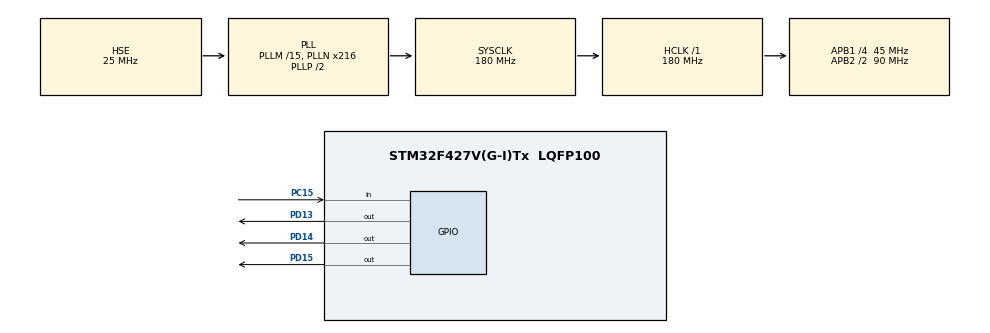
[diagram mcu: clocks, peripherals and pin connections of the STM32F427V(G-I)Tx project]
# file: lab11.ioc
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Mcu.Family=STM32F4
Mcu.Name=STM32F427V(G-I)Tx
Mcu.Package=LQFP100
NVIC.PriorityGroup=NVIC_PRIORITYGROUP_4
PA13.Mode=JTAG_5_pins
PA13.Signal=SYS_JTMS-SWDIO
PA14.Mode=JTAG_5_pins
PA14.Signal=SYS_JTCK-SWCLK
PA15.Mode=JTAG_5_pins
PA15.Signal=SYS_JTDI
PB3.Mode=JTAG_5_pins
PB3.Signal=SYS_JTDO-SWO
PB4.Mode=JTAG_5_pins
PB4.Signal=SYS_JTRST
PC15/OSC32_OUT.Signal=GPIO_Input
PD13.Signal=GPIO_Output
PD14.Signal=GPIO_Output
PD15.Signal=GPIO_Output
PH0/OSC_IN.Mode=HSE-External-Oscillator
PH0/OSC_IN.Signal=RCC_OSC_IN
PH1/OSC_OUT.Mode=HSE-External-Oscillator
PH1/OSC_OUT.Signal=RCC_OSC_OUT
ProjectManager.HeapSize=0x200
ProjectManager.StackSize=0x400
ProjectManager.TargetToolchain=STM32CubeIDE
RCC.48MHZClocksFreq_Value=90000000
RCC.AHBFreq_Value=180000000
RCC.APB1CLKDivider=RCC_HCLK_DIV4
RCC.APB1Freq_Value=45000000
RCC.APB1TimFreq_Value=90000000
RCC.APB2CLKDivider=RCC_HCLK_DIV2
RCC.APB2Freq_Value=90000000
RCC.APB2TimFreq_Value=180000000
RCC.CortexFreq_Value=180000000
RCC.HCLKFreq_Value=180000000
RCC.HSE_VALUE=25000000
RCC.HSI_VALUE=16000000
RCC.LSE_VALUE=32768
RCC.PLLM=15
RCC.PLLN=216
RCC.PLLSourceVirtual=RCC_PLLSOURCE_HSE
RCC.SYSCLKFreq_VALUE=180000000
RCC.SYSCLKSource=RCC_SYSCLKSOURCE_PLLCLK
RCC.VCOOutputFreq_Value=360000000
board=custom

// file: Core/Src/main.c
/* USER CODE BEGIN Header */
/**
  ******************************************************************************
  * @file           : main.c
  * @brief          : Main program body
  ******************************************************************************
  * @attention
  *
  * Copyright (c) 2023 STMicroelectronics.
  * All rights reserved.
  *
  * This software is licensed under terms that can be found in the LICENSE file
  * in the root directory of this software component.
  * If no LICENSE file comes with this software, it is provided AS-IS.
  *
  ******************************************************************************
  */
/* USER CODE END Header */
#include "main.h"
#include "gpio.h"

/* USER CODE BEGIN Includes */
#include "stdio.h"
#include <stdlib.h>
/* USER CODE END Includes */

void SystemClock_Config(void);

/* USER CODE BEGIN 0 */
extern void initialise_monitor_handles(void);

void delay(const int delay_ms){
	  const int start_time = HAL_GetTick();
	  while (1) {
		  if (HAL_GetTick() - start_time >= delay_ms){
			  return;
		  }
	  }
}

void flash_diodes(const int overflows){
	  HAL_GPIO_WritePin(GPIOD, GPIO_PIN_13, GPIO_PIN_RESET);
	  HAL_GPIO_WritePin(GPIOD, GPIO_PIN_15, GPIO_PIN_RESET);
	  delay(500);
	  HAL_GPIO_WritePin(GPIOD, GPIO_PIN_13, GPIO_PIN_SET);
	  HAL_GPIO_WritePin(GPIOD, GPIO_PIN_15, GPIO_PIN_SET);
	  delay(500);
	  HAL_GPIO_WritePin(GPIOD, GPIO_PIN_13, GPIO_PIN_RESET);
	  HAL_GPIO_WritePin(GPIOD, GPIO_PIN_15, GPIO_PIN_RESET);
	  delay(500);
	  for (int i = 0; i < abs(overflows) ; i++ ){
		  HAL_GPIO_WritePin(GPIOD, GPIO_PIN_13, GPIO_PIN_SET);
		  delay(250);
		  HAL_GPIO_WritePin(GPIOD, GPIO_PIN_13, GPIO_PIN_RESET);
		  delay(250);
	  }
}

void set_diodes_state(const int value){
	  if (value < 0 || value > 3){
		  printf("Wrong value\n");
		  return;
	  }
	  if (value % 2 == 1){
		  HAL_GPIO_WritePin(GPIOD, GPIO_PIN_13, GPIO_PIN_SET);
	  } else {
		  HAL_GPIO_WritePin(GPIOD, GPIO_PIN_13, GPIO_PIN_RESET);
	  }
	  if (value >= 2){
		  HAL_GPIO_WritePin(GPIOD, GPIO_PIN_15, GPIO_PIN_SET);
	  } else {
		  HAL_GPIO_WritePin(GPIOD, GPIO_PIN_15, GPIO_PIN_RESET);
	  }
}

/* USER CODE END 0 */

int main(void)
{
  /* USER CODE BEGIN 1 */
//	uint32_t wait = 500;
//	initialise_monitor_handles();
  /* USER CODE END 1 */

  /* MCU Configuration--------------------------------------------------------*/

  /* Reset of all peripherals, Initializes the Flash interface and the Systick. */
  HAL_Init();

  /* USER CODE BEGIN Init */
//  printf("Hello world!\n");
  /* USER CODE END Init */

  /* Configure the system clock */
  SystemClock_Config();

  /* Initialize all configured peripherals */
  MX_GPIO_Init();
  /* USER CODE BEGIN 2 */
   int start_time_pressing;
   int press_duration = 0;
   _Bool is_press_watching = 0;

   int overflows = 0;
   int sum_value = 0;

  /* USER CODE END 2 */

  /* Infinite loop */
  /* USER CODE BEGIN WHILE */
  while (1)
  {

	  int is_pressed = !(HAL_GPIO_ReadPin(GPIOC, GPIO_PIN_15));

	  if (is_press_watching && !is_pressed){
		  press_duration = HAL_GetTick() - start_time_pressing;
		  is_press_watching = 0;

		  // logic begin

			  if (press_duration >= 400){
				  sum_value -= 1;
			  } else if (press_duration >= 50) { // cringe
				  sum_value += 1;
			  }

			  if (sum_value == -1 || sum_value == 4){
				  if (sum_value == -1){
					  overflows -= 1;
					  sum_value = 3;
				  }
				  if (sum_value == 4){
					  overflows += 1;
					  sum_value = 0;
				  }

				  flash_diodes(overflows);
			  }
			  set_diodes_state(sum_value);

		  // login end

		  // continue;
	  }
	  if (!is_press_watching && is_pressed){
		  start_time_pressing = HAL_GetTick();
		  is_press_watching = 1;
		  // continue;
	  }

    /* USER CODE END WHILE */

  }
}

void SystemClock_Config(void)
{
  RCC_OscInitTypeDef RCC_OscInitStruct = {0};
  RCC_ClkInitTypeDef RCC_ClkInitStruct = {0};

  /** Configure the main internal regulator output voltage
  */
  __HAL_RCC_PWR_CLK_ENABLE();
  __HAL_PWR_VOLTAGESCALING_CONFIG(PWR_REGULATOR_VOLTAGE_SCALE1);

  /** Initializes the RCC Oscillators according to the specified parameters
  * in the RCC_OscInitTypeDef structure.
  */
  RCC_OscInitStruct.OscillatorType = RCC_OSCILLATORTYPE_HSE;
  RCC_OscInitStruct.HSEState = RCC_HSE_ON;
  RCC_OscInitStruct.PLL.PLLState = RCC_PLL_ON;
  RCC_OscInitStruct.PLL.PLLSource = RCC_PLLSOURCE_HSE;
  RCC_OscInitStruct.PLL.PLLM = 15;
  RCC_OscInitStruct.PLL.PLLN = 216;
  RCC_OscInitStruct.PLL.PLLP = RCC_PLLP_DIV2;
  RCC_OscInitStruct.PLL.PLLQ = 4;
  if (HAL_RCC_OscConfig(&RCC_OscInitStruct) != HAL_OK)
  {
    Error_Handler();
  }

  /** Activate the Over-Drive mode
  */
  if (HAL_PWREx_EnableOverDrive() != HAL_OK)
  {
    Error_Handler();
  }

  /** Initializes the CPU, AHB and APB buses clocks
  */
  RCC_ClkInitStruct.ClockType = RCC_CLOCKTYPE_HCLK|RCC_CLOCKTYPE_SYSCLK
                              |RCC_CLOCKTYPE_PCLK1|RCC_CLOCKTYPE_PCLK2;
  RCC_ClkInitStruct.SYSCLKSource = RCC_SYSCLKSOURCE_PLLCLK;
  RCC_ClkInitStruct.AHBCLKDivider = RCC_SYSCLK_DIV1;
  RCC_ClkInitStruct.APB1CLKDivider = RCC_HCLK_DIV4;
  RCC_ClkInitStruct.APB2CLKDivider = RCC_HCLK_DIV2;

  if (HAL_RCC_ClockConfig(&RCC_ClkInitStruct, FLASH_LATENCY_5) != HAL_OK)
  {
    Error_Handler();
  }
}

void Error_Handler(void)
{
  __disable_irq();
  while (1)
  {
  }
}
